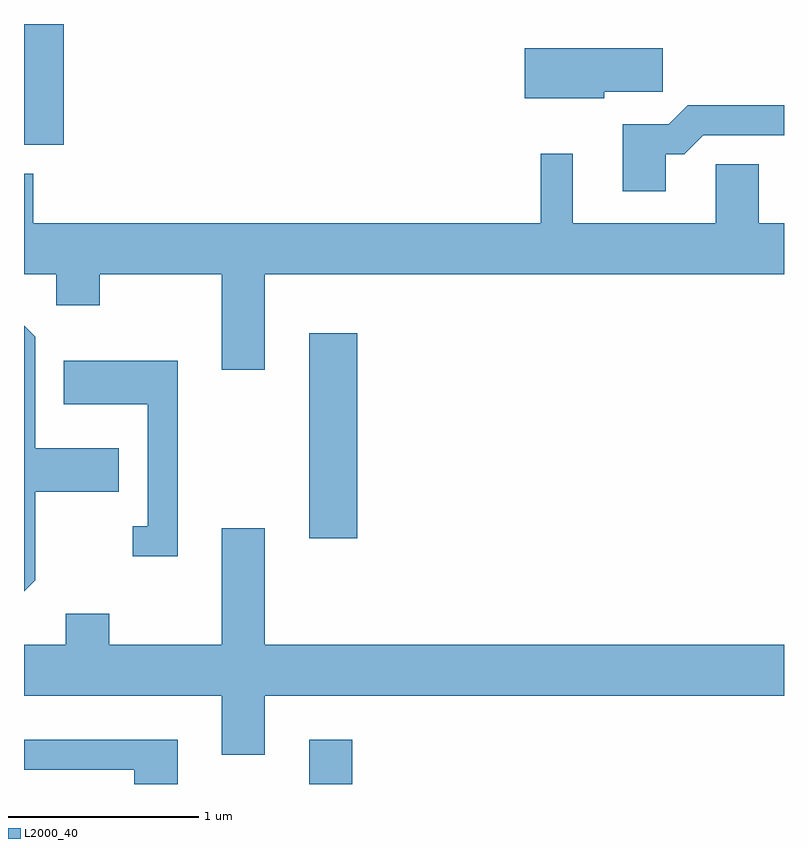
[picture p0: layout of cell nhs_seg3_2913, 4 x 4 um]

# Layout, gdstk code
import gdstk
lib = gdstk.Library(unit=1e-6, precision=1e-09)
def R(c, l, rs):  # rectangles x0, y0, x1, y1
    for r in rs: c.add(gdstk.rectangle(r[:2], r[2:], *l))
def P(c, l, *ps):  # polygons
    for p in ps: c.add(gdstk.Polygon(p, *l))
L2000_40 = (2000, 40)

nhs_seg3_2913 = lib.new_cell('nhs_seg3_2913')
R(nhs_seg3_2913, L2000_40, [(271.111,1229.892,271.339,1230.124), (271.111,1231.186,271.364,1232.264), (269.611,1233.256,269.819,1233.892)])
P(nhs_seg3_2913, L2000_40, [(272.664,1233.536),(272.974,1233.536),(272.974,1233.764),(272.246,1233.764),(272.246,1233.501),(272.664,1233.501)],
  [(272.989,1233.206),(273.087,1233.206),(273.187,1233.306),(273.611,1233.306),(273.611,1233.464),(273.104,1233.464),(273.004,1233.364),(272.761,1233.364),(272.761,1233.011),(272.989,1233.011)],
  [(270.879,1232.576),(273.611,1232.576),(273.611,1232.844),(273.479,1232.844),(273.479,1233.154),(273.251,1233.154),(273.251,1232.844),(272.499,1232.844),(272.499,1233.208),(272.331,1233.208),(272.331,1232.844),(269.659,1232.844),(269.659,1233.104),(269.611,1233.104),(269.611,1232.576),(269.781,1232.576),(269.781,1232.411),(270.009,1232.411),(270.009,1232.576),(270.651,1232.576),(270.651,1232.071),(270.879,1232.071)],
  [(269.669,1230.964),(269.669,1231.431),(270.109,1231.431),(270.109,1231.659),(269.669,1231.659),(269.669,1232.247),(269.611,1232.305),(269.611,1230.906)],
  [(270.419,1232.119),(269.821,1232.119),(269.821,1231.891),(270.261,1231.891),(270.261,1231.249),(270.183,1231.249),(270.183,1231.091),(270.419,1231.091)],
  [(270.879,1230.356),(273.611,1230.356),(273.611,1230.624),(270.879,1230.624),(270.879,1231.239),(270.651,1231.239),(270.651,1230.624),(270.059,1230.624),(270.059,1230.789),(269.831,1230.789),(269.831,1230.624),(269.611,1230.624),(269.611,1230.356),(270.651,1230.356),(270.651,1230.046),(270.879,1230.046)],
  [(270.419,1230.124),(269.611,1230.124),(269.611,1229.966),(270.191,1229.966),(270.191,1229.892),(270.419,1229.892)])

lib.write_gds('nhs_seg3_2913.gds')
